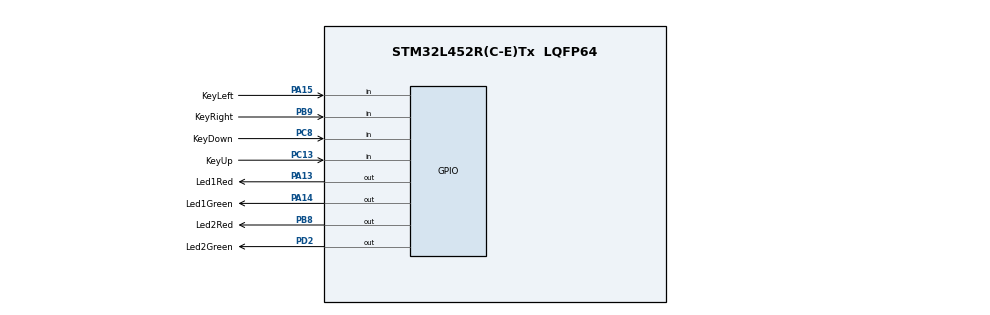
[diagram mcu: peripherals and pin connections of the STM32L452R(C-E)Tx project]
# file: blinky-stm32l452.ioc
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Mcu.Family=STM32L4
RCC.MSI_VALUE=4000000
PB9.GPIO_Label=KeyRight
PC13.Signal=GPIO_Input
PC8.Signal=GPIO_Input
PA15\ (JTDI).Signal=GPIO_Input
PC13.GPIO_Label=KeyUp
ProjectManager.StackSize=0x400
PC8.GPIO_Label=KeyDown
PB8.GPIO_Label=Led2Red
PA14\ (JTCK/SWCLK).Signal=GPIO_Output
ProjectManager.TargetToolchain=Makefile
RCC.LSE_VALUE=32768
RCC.HSE_VALUE=8000000
board=custom
RCC.VCOOutputFreq_Value=32000000
PA13\ (JTMS/SWDIO).GPIO_Label=Led1Red
PC13.GPIO_PuPd=GPIO_PULLUP
PA15\ (JTDI).GPIO_PuPd=GPIO_PULLUP
PA15\ (JTDI).GPIO_Label=KeyLeft
Mcu.Name=STM32L452R(C-E)Tx
PC8.GPIO_PuPd=GPIO_PULLUP
Mcu.Package=LQFP64
PB9.Signal=GPIO_Input
PB9.GPIO_PuPd=GPIO_PULLUP
ProjectManager.HeapSize=0x200
RCC.HSI_VALUE=16000000
NVIC.PriorityGroup=NVIC_PRIORITYGROUP_4
PA14\ (JTCK/SWCLK).GPIO_Label=Led1Green
PB8.Signal=GPIO_Output
PD2.Signal=GPIO_Output
PD2.GPIO_Label=Led2Green
RCC.HSI48_VALUE=48000000
PA13\ (JTMS/SWDIO).Signal=GPIO_Output

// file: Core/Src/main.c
/* USER CODE BEGIN Header */
/**
  ******************************************************************************
  * @file           : main.c
  * @brief          : Main program body
  ******************************************************************************
  * @attention
  *
  * <h2><center>&copy; Copyright (c) 2021 STMicroelectronics.
  * All rights reserved.</center></h2>
  *
  * This software component is licensed by ST under BSD 3-Clause license,
  * the "License"; You may not use this file except in compliance with the
  * License. You may obtain a copy of the License at:
  *                        opensource.org/licenses/BSD-3-Clause
  *
  ******************************************************************************
  */
/* USER CODE END Header */
#include "main.h"

void SystemClock_Config(void);
static void MX_GPIO_Init(void);

/* USER CODE BEGIN 0 */

static void blinky(void)
{
	static uint8_t color = 0;
	color++;
	uint32_t speed = 250;
	//read in the buttons
#ifdef KeyUp_Pin
	if (HAL_GPIO_ReadPin(KeyUp_GPIO_Port, KeyUp_Pin) == GPIO_PIN_RESET)
	{
		color = 0x5; //all red
	}
#endif
#ifdef KeyDown_Pin
	if (HAL_GPIO_ReadPin(KeyDown_GPIO_Port, KeyDown_Pin) == GPIO_PIN_RESET)
	{
		color = 0xA; //all green
	}
#endif
#ifdef KeyRight_Pin
	if (HAL_GPIO_ReadPin(KeyRight_GPIO_Port, KeyRight_Pin) == GPIO_PIN_RESET)
	{
		color = 0xF; //all on
	}
#endif
#ifdef KeyLeft_Pin
	if (HAL_GPIO_ReadPin(KeyLeft_GPIO_Port, KeyLeft_Pin) == GPIO_PIN_RESET)
	{
		speed = 125; //faster speed
	}
#endif

	//set the LEDs
	GPIO_PinState led1Red = GPIO_PIN_RESET;
	GPIO_PinState led1Green = GPIO_PIN_RESET;
	GPIO_PinState led2Red = GPIO_PIN_RESET;
	GPIO_PinState led2Green = GPIO_PIN_RESET;
	if (color & 1)
	{
		led1Red = GPIO_PIN_SET;
	}
	if (color & 2)
	{
		led1Green = GPIO_PIN_SET;
	}
	if (color & 4)
	{
		led2Red = GPIO_PIN_SET;
	}
	if (color & 8)
	{
		led2Green = GPIO_PIN_SET;
	}

#ifdef Led1Red_Pin
	HAL_GPIO_WritePin(Led1Red_GPIO_Port,   Led1Red_Pin,   led1Red);
#else
	(void)led1Red;
#endif

#ifdef Led1Green_Pin
	HAL_GPIO_WritePin(Led1Green_GPIO_Port, Led1Green_Pin, led1Green);
#else
	(void)led1Green;
#endif

#ifdef Led2Red_Pin
	HAL_GPIO_WritePin(Led2Red_GPIO_Port,   Led2Red_Pin,   led2Red);
#else
	(void)led2Red;
#endif

#ifdef Led2Green_Pin
	HAL_GPIO_WritePin(Led2Green_GPIO_Port, Led2Green_Pin, led2Green);
#else
	(void)led2Green;
#endif

	HAL_Delay(speed);
}

/* USER CODE END 0 */

int main(void)
{

  /* MCU Configuration--------------------------------------------------------*/

  /* Reset of all peripherals, Initializes the Flash interface and the Systick. */
  HAL_Init();

  /* Configure the system clock */
  SystemClock_Config();

  /* Initialize all configured peripherals */
  MX_GPIO_Init();

  /* Infinite loop */
  while (1)
  {
    blinky();
  }
}

void SystemClock_Config(void)
{
#ifdef RCC_OSCILLATORTYPE_MSI
  RCC_OscInitTypeDef RCC_OscInitStruct = {0};
#endif
  RCC_ClkInitTypeDef RCC_ClkInitStruct = {0};

  /** Initializes the RCC Oscillators according to the specified parameters
  * in the RCC_OscInitTypeDef structure.
  */
#ifdef RCC_OSCILLATORTYPE_MSI
  RCC_OscInitStruct.OscillatorType = RCC_OSCILLATORTYPE_MSI;
  RCC_OscInitStruct.MSIState = RCC_MSI_ON;
  RCC_OscInitStruct.MSICalibrationValue = 0;
  RCC_OscInitStruct.MSIClockRange = RCC_MSIRANGE_6;
  RCC_OscInitStruct.PLL.PLLState = RCC_PLL_NONE;
  if (HAL_RCC_OscConfig(&RCC_OscInitStruct) != HAL_OK)
  {
    Error_Handler();
  }
#endif
  /** Initializes the CPU, AHB and APB buses clocks
  */
  RCC_ClkInitStruct.ClockType = RCC_CLOCKTYPE_HCLK|RCC_CLOCKTYPE_SYSCLK
                              |RCC_CLOCKTYPE_PCLK1|RCC_CLOCKTYPE_PCLK2;
#ifdef RCC_OSCILLATORTYPE_MSI
  RCC_ClkInitStruct.SYSCLKSource = RCC_SYSCLKSOURCE_MSI;
#else
  RCC_ClkInitStruct.SYSCLKSource = RCC_SYSCLKSOURCE_HSI;
#endif
  RCC_ClkInitStruct.AHBCLKDivider = RCC_SYSCLK_DIV1;
  RCC_ClkInitStruct.APB1CLKDivider = RCC_HCLK_DIV1;
  RCC_ClkInitStruct.APB2CLKDivider = RCC_HCLK_DIV1;

  if (HAL_RCC_ClockConfig(&RCC_ClkInitStruct, FLASH_LATENCY_0) != HAL_OK)
  {
    Error_Handler();
  }
  /** Configure the main internal regulator output voltage
  */
  //if (HAL_PWREx_ControlVoltageScaling(PWR_REGULATOR_VOLTAGE_SCALE1) != HAL_OK)
  //{
  //  Error_Handler();
  //}
}

static void MX_GPIO_Init(void)
{
  GPIO_InitTypeDef GPIO_InitStruct = {0};

  /* GPIO Ports Clock Enable */
  __HAL_RCC_GPIOC_CLK_ENABLE();
  __HAL_RCC_GPIOA_CLK_ENABLE();
  __HAL_RCC_GPIOD_CLK_ENABLE();
  __HAL_RCC_GPIOB_CLK_ENABLE();

  /*Configure GPIO pin Output Levels */
#ifdef Led1Red_Pin
  HAL_GPIO_WritePin(Led1Red_GPIO_Port, Led1Red_Pin, GPIO_PIN_RESET);
#endif

#ifdef Led1Green_Pin
  HAL_GPIO_WritePin(Led1Green_GPIO_Port, Led1Green_Pin, GPIO_PIN_RESET);
#endif

#ifdef Led2Green_Pin
  HAL_GPIO_WritePin(Led2Green_GPIO_Port, Led2Green_Pin, GPIO_PIN_RESET);
#endif

#ifdef Led2Red_Pin
  HAL_GPIO_WritePin(Led2Red_GPIO_Port, Led2Red_Pin, GPIO_PIN_RESET);
#endif

#ifdef KeyUp_Pin
  GPIO_InitStruct.Pin = KeyUp_Pin;
  GPIO_InitStruct.Mode = GPIO_MODE_INPUT;
  GPIO_InitStruct.Pull = GPIO_PULLUP;
  HAL_GPIO_Init(KeyUp_GPIO_Port, &GPIO_InitStruct);
#endif

#ifdef KeyDown_Pin
  GPIO_InitStruct.Pin = KeyDown_Pin;
  GPIO_InitStruct.Mode = GPIO_MODE_INPUT;
  GPIO_InitStruct.Pull = GPIO_PULLUP;
  HAL_GPIO_Init(KeyDown_GPIO_Port, &GPIO_InitStruct);
#endif

#ifdef Led1Red_Pin
  GPIO_InitStruct.Pin = Led1Red_Pin;
  GPIO_InitStruct.Mode = GPIO_MODE_OUTPUT_PP;
  GPIO_InitStruct.Pull = GPIO_NOPULL;
  GPIO_InitStruct.Speed = GPIO_SPEED_FREQ_LOW;
  HAL_GPIO_Init(Led1Red_GPIO_Port, &GPIO_InitStruct);
#endif

#ifdef Led1Green_Pin
  GPIO_InitStruct.Pin = Led1Green_Pin;
  GPIO_InitStruct.Mode = GPIO_MODE_OUTPUT_PP;
  GPIO_InitStruct.Pull = GPIO_NOPULL;
  GPIO_InitStruct.Speed = GPIO_SPEED_FREQ_LOW;
  HAL_GPIO_Init(Led1Green_GPIO_Port, &GPIO_InitStruct);
#endif

#ifdef KeyLeft_Pin
  GPIO_InitStruct.Pin = KeyLeft_Pin;
  GPIO_InitStruct.Mode = GPIO_MODE_INPUT;
  GPIO_InitStruct.Pull = GPIO_PULLUP;
  HAL_GPIO_Init(KeyLeft_GPIO_Port, &GPIO_InitStruct);
#endif

#ifdef Led2Green_Pin
  GPIO_InitStruct.Pin = Led2Green_Pin;
  GPIO_InitStruct.Mode = GPIO_MODE_OUTPUT_PP;
  GPIO_InitStruct.Pull = GPIO_NOPULL;
  GPIO_InitStruct.Speed = GPIO_SPEED_FREQ_LOW;
  HAL_GPIO_Init(Led2Green_GPIO_Port, &GPIO_InitStruct);
#endif

#ifdef KeyRight_Pin
  GPIO_InitStruct.Pin = KeyRight_Pin;
  GPIO_InitStruct.Mode = GPIO_MODE_INPUT;
  GPIO_InitStruct.Pull = GPIO_PULLUP;
  HAL_GPIO_Init(KeyRight_GPIO_Port, &GPIO_InitStruct);
#endif

#ifdef Led2Red_Pin
  GPIO_InitStruct.Pin = Led2Red_Pin;
  GPIO_InitStruct.Mode = GPIO_MODE_OUTPUT_PP;
  GPIO_InitStruct.Pull = GPIO_NOPULL;
  GPIO_InitStruct.Speed = GPIO_SPEED_FREQ_LOW;
  HAL_GPIO_Init(Led2Red_GPIO_Port, &GPIO_InitStruct);
#endif

}

void Error_Handler(void)
{
  __disable_irq();
  while (1)
  {
  }
}

/************************ (C) COPYRIGHT STMicroelectronics *****END OF FILE****/
